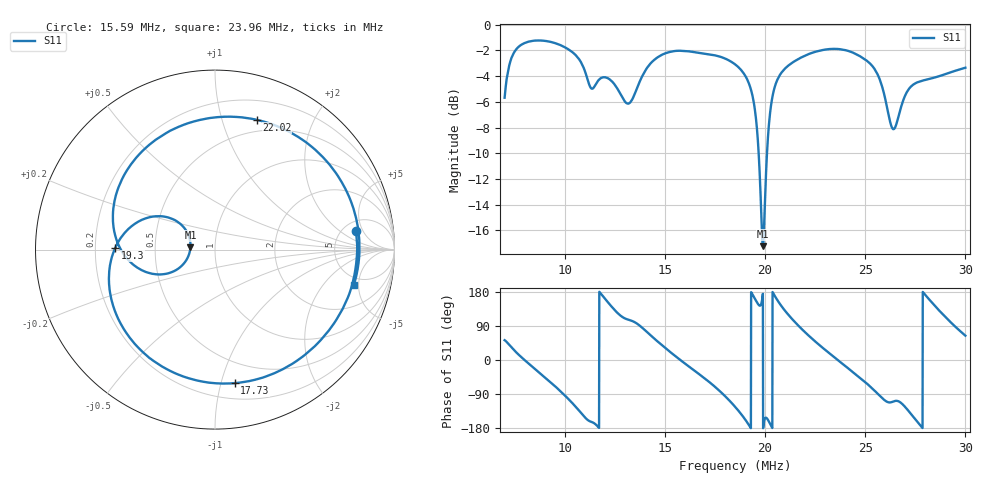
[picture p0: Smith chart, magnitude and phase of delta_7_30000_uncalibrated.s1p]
! Touchstone file generated by AntScope2
# MHz Z RI R 50
! Format: Frequency Z-real Z-imaginary (normalized to 50 Ohm)
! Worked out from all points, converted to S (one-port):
!   2001 points, 7 MHz to 30 MHz, reference 50 ohm
!   lowest |S11| = -17.2 dB at 19.89 MHz (marker M1), VSWR 1.32, Z = 37.9 + j0.96 ohm
!   |S11| at or under -10 dB: 19.68 MHz to 20.1 MHz (415.7 kHz wide, 2.09 % of centre)
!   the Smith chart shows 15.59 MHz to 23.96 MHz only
!   S11 on the Smith chart (normalised r, x): 15.59 MHz: 6.58, +3.61; 17.73 MHz: 0.32, -1.11; 19.3 MHz: 0.29, +0.01; 22.02 MHz: 0.38, +1.30; 23.96 MHz: 4.07, -4.38
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7  1.152 1.298
7.6095  2.845 4.234
8.2535  4.584 -6.336
9.875  0.1984 -1.039
10.956  0.2074 -0.273
11.9565  0.2344 0.1222
12.75  0.3884 0.525
14.3025  0.5562 1.435
15.5905  6.575 3.611
15.625  7.165 3.185
16.637  1.222 -2.733
17.7295  0.323 -1.106
18.5  0.2244 -0.5196
19.305  0.2852 0.0078
19.8915  0.759 0.0192
20.1675  0.454 -0.1404
20.547  0.2606 0.1342
21.375  0.2562 0.7124
22.019  0.3808 1.302
23.031  1.843 3.537
23.9625  4.07 -4.377
24.25  1.841 -3.35
25.331  0.471 -1.214
26.389  0.5958 -0.5202
27.125  0.3376 -0.4014
28.2405  0.2464 0.1926
29.1145  0.3216 0.6832
30  0.6164 1.407
